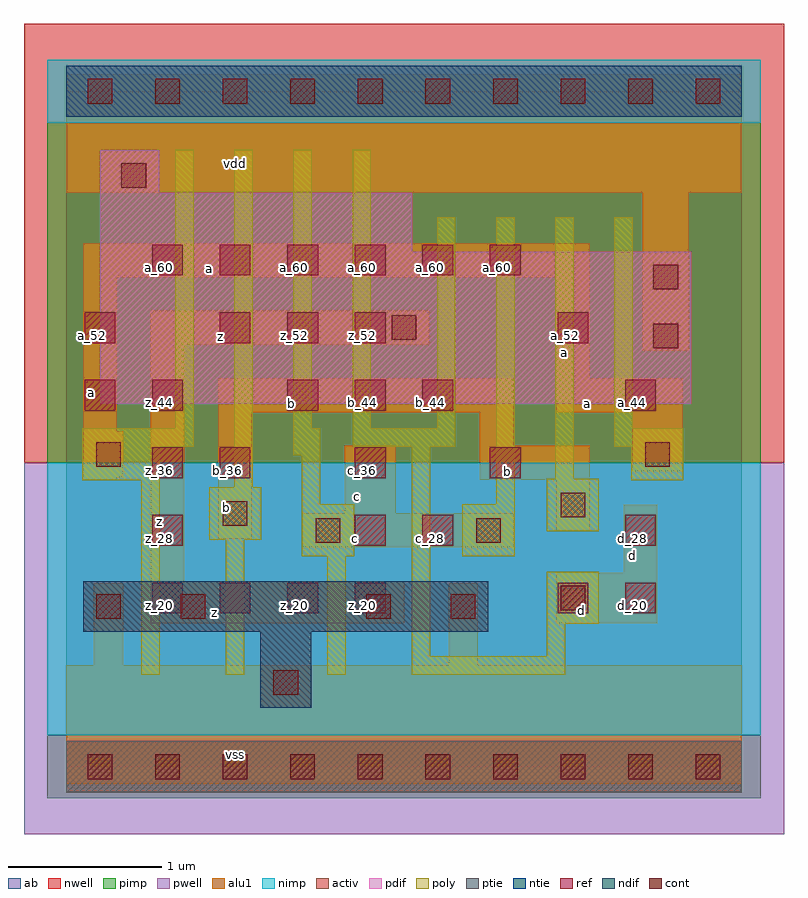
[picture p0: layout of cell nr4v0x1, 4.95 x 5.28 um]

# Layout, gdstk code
import gdstk
lib = gdstk.Library(unit=1e-6, precision=2.5e-09)
def R(c, l, rs):  # rectangles x0, y0, x1, y1
    for r in rs: c.add(gdstk.rectangle(r[:2], r[2:], *l))
def A(c, l, x, y, w, h, nx, ny, dx, dy):  # array of equal rectangles
    R(c, l, [(x+i*dx, y+j*dy, x+i*dx+w, y+j*dy+h) for i in range(nx) for j in range(ny)])
ndif = (3, 0)
pdif = (4, 0)
ntie = (5, 0)
ptie = (6, 0)
ref = (24, 0)
cont = (25, 0)
pwell = (41, 0)
nwell = (42, 0)
activ = (43, 0)
pimp = (44, 0)
nimp = (45, 0)
poly = (46, 0)
alu1 = (49, 0)
ab = (63, 0)

nr4v0x1 = lib.new_cell('nr4v0x1')
R(nr4v0x1, ndif, [(1.265,0.385,1.595,0.88), (0.11,0.88,2.75,1.21)])
R(nr4v0x1, pdif, [(0.22,2.365,4.07,3.355), (0.22,3.355,2.255,3.74), (0.22,3.74,0.605,4.015)])
R(nr4v0x1, ntie, [(0,4.235,4.4,4.565)])
R(nr4v0x1, ptie, [(0,-0.165,4.4,0.165)])
A(nr4v0x1, ref, 0.56, 1, 0.2, 0.2, 4, 1, 0.44, 0)
A(nr4v0x1, ref, 0.56, 1.44, 0.2, 0.2, 1, 3, 0, 0.44)
A(nr4v0x1, ref, 1, 1.88, 0.2, 0.2, 3, 1, 0.88, 0)
A(nr4v0x1, ref, 1.44, 2.32, 0.2, 0.2, 3, 1, 0.44, 0)
A(nr4v0x1, ref, 1, 2.76, 0.2, 0.2, 3, 1, 0.44, 0)
A(nr4v0x1, ref, 0.56, 3.2, 0.2, 0.2, 6, 1, 0.44, 0)
R(nr4v0x1, ref, [(3.2,1,3.4,1.2), (3.64,1,3.84,1.2), (1.88,1.44,2.08,1.64), (2.32,1.44,2.52,1.64), (3.64,1.44,3.84,1.64), (0.12,2.32,0.32,2.52), (3.64,2.32,3.84,2.52), (0.12,2.76,0.32,2.96), (3.2,2.76,3.4,2.96)])
A(nr4v0x1, cont, 0.14, -0.08, 0.16, 0.16, 10, 2, 0.44, 4.4)
R(nr4v0x1, cont, [(1.35,0.47,1.51,0.63), (0.195,0.965,0.355,1.125), (0.745,0.965,0.905,1.125), (1.955,0.965,2.115,1.125), (2.505,0.965,2.665,1.125), (3.22,1.02,3.38,1.18), (1.625,1.46,1.785,1.62), (2.67,1.46,2.83,1.62), (1.02,1.57,1.18,1.73), (3.22,1.625,3.38,1.785), (0.195,1.955,0.355,2.115), (3.77,1.955,3.93,2.115), (3.825,2.725,3.985,2.885), (2.12,2.78,2.28,2.94), (3.825,3.11,3.985,3.27), (0.36,3.77,0.52,3.93)])
R(nr4v0x1, pwell, [(-0.275,-0.44,4.675,1.98)])
R(nr4v0x1, nwell, [(-0.275,1.98,4.675,4.84)])
R(nr4v0x1, activ, [(0,-0.165,4.4,0.165), (1.265,0.385,1.595,0.88), (0.11,0.88,2.75,1.21), (0.22,2.365,4.07,3.355), (0.22,3.355,2.255,3.74), (0.22,3.74,0.605,4.015), (0,4.235,4.4,4.565)])
R(nr4v0x1, pimp, [(-0.125,-0.205,4.525,0.205), (-0.125,1.98,4.525,4.195)])
R(nr4v0x1, nimp, [(-0.125,0.205,4.525,1.98), (-0.125,4.195,4.525,4.605)])
R(nr4v0x1, poly, [(0.49,0.6,0.61,1.865), (1.04,0.6,1.16,1.48), (1.7,0.6,1.82,1.37), (2.25,0.6,3.25,0.72), (2.25,0.72,2.37,2.085), (3.13,0.72,3.25,0.93), (3.13,0.93,3.47,1.27), (1.535,1.37,1.875,1.71), (2.58,1.37,2.92,1.71), (0.93,1.48,1.27,1.82), (3.13,1.535,3.47,1.875), (1.535,1.71,1.655,2.03), (2.8,1.71,2.92,3.58), (1.095,1.82,1.215,4.02), (0.105,1.865,0.61,2.085), (3.68,1.865,4.02,2.085), (3.185,1.875,3.305,3.58), (1.48,2.03,1.655,2.205), (0.105,2.085,0.83,2.205), (1.865,2.085,2.535,2.205), (3.57,2.085,4.02,2.205), (0.71,2.205,0.83,4.02), (1.48,2.205,1.6,4.02), (1.865,2.205,1.985,4.02), (2.415,2.205,2.535,3.58), (3.57,2.205,3.69,3.58)])
R(nr4v0x1, alu1, [(0,-0.11,4.4,0.66), (0.18,0.66,0.37,1.195), (2.49,0.66,2.68,1.195), (0.55,0.935,2.2,1.21), (3.19,0.935,3.85,1.265), (0.55,1.21,0.77,2.75), (3.63,1.265,3.85,1.705), (1.54,1.43,2.915,1.65), (0.99,1.485,1.21,2.31), (3.19,1.54,3.41,1.87), (1.815,1.65,2.145,2.09), (0.11,1.87,0.33,1.885), (2.695,1.87,3.41,2.09), (0.11,1.885,0.37,2.185), (3.685,1.925,4.015,2.31), (2.695,2.09,2.915,2.31), (0.11,2.185,0.33,3.19), (0.99,2.31,2.915,2.53), (3.19,2.31,4.015,2.53), (3.19,2.53,3.41,3.19), (3.755,2.71,4.055,3.74), (0.55,2.75,2.365,2.97), (0.11,3.19,3.41,3.41), (0,3.74,4.4,4.51)])
R(nr4v0x1, ab, [(0,0,4.4,4.4)])
nr4v0x1.add(gdstk.Label('vss', (1.1,0.0825), layer=49, texttype=0))
nr4v0x1.add(gdstk.Label('d', (3.355,1.0175), layer=49, texttype=0))
nr4v0x1.add(gdstk.Label('z', (0.9625,1.0025), layer=49, texttype=0))
nr4v0x1.add(gdstk.Label('d', (3.685,1.375), layer=49, texttype=0))
nr4v0x1.add(gdstk.Label('c', (1.8825,1.485), layer=49, texttype=0))
nr4v0x1.add(gdstk.Label('b', (2.8725,1.925), layer=49, texttype=0))
nr4v0x1.add(gdstk.Label('c', (1.8975,1.76), layer=49, texttype=0))
nr4v0x1.add(gdstk.Label('b', (1.045,1.69), layer=49, texttype=0))
nr4v0x1.add(gdstk.Label('a', (3.395,2.365), layer=49, texttype=0))
nr4v0x1.add(gdstk.Label('b', (1.47,2.365), layer=49, texttype=0))
nr4v0x1.add(gdstk.Label('a', (3.245,2.695), layer=49, texttype=0))
nr4v0x1.add(gdstk.Label('z', (0.605,1.595), layer=49, texttype=0))
nr4v0x1.add(gdstk.Label('z', (1.0025,2.805), layer=49, texttype=0))
nr4v0x1.add(gdstk.Label('a', (0.165,2.435), layer=49, texttype=0))
nr4v0x1.add(gdstk.Label('a', (0.935,3.245), layer=49, texttype=0))
nr4v0x1.add(gdstk.Label('vdd', (1.1,3.9325), layer=49, texttype=0))
nr4v0x1.add(gdstk.Label('a_44', (3.69,2.37), layer=24, texttype=0))
nr4v0x1.add(gdstk.Label('d_28', (3.69,1.49), layer=24, texttype=0))
nr4v0x1.add(gdstk.Label('d_20', (3.69,1.05), layer=24, texttype=0))
nr4v0x1.add(gdstk.Label('a_52', (3.25,2.81), layer=24, texttype=0))
nr4v0x1.add(gdstk.Label('d_20', (3.25,1.05), layer=24, texttype=0))
nr4v0x1.add(gdstk.Label('a_60', (2.81,3.25), layer=24, texttype=0))
nr4v0x1.add(gdstk.Label('b_36', (2.81,1.93), layer=24, texttype=0))
nr4v0x1.add(gdstk.Label('a_60', (2.37,3.25), layer=24, texttype=0))
nr4v0x1.add(gdstk.Label('b_44', (2.37,2.37), layer=24, texttype=0))
nr4v0x1.add(gdstk.Label('c_28', (2.37,1.49), layer=24, texttype=0))
nr4v0x1.add(gdstk.Label('a_52', (0.17,2.81), layer=24, texttype=0))
nr4v0x1.add(gdstk.Label('a_44', (0.17,2.37), layer=24, texttype=0))
nr4v0x1.add(gdstk.Label('a_60', (1.93,3.25), layer=24, texttype=0))
nr4v0x1.add(gdstk.Label('z_52', (1.93,2.81), layer=24, texttype=0))
nr4v0x1.add(gdstk.Label('b_44', (1.93,2.37), layer=24, texttype=0))
nr4v0x1.add(gdstk.Label('c_36', (1.93,1.93), layer=24, texttype=0))
nr4v0x1.add(gdstk.Label('c_28', (1.93,1.49), layer=24, texttype=0))
nr4v0x1.add(gdstk.Label('z_20', (1.93,1.05), layer=24, texttype=0))
nr4v0x1.add(gdstk.Label('a_60', (1.49,3.25), layer=24, texttype=0))
nr4v0x1.add(gdstk.Label('z_52', (1.49,2.81), layer=24, texttype=0))
nr4v0x1.add(gdstk.Label('b_44', (1.49,2.37), layer=24, texttype=0))
nr4v0x1.add(gdstk.Label('z_20', (1.49,1.05), layer=24, texttype=0))
nr4v0x1.add(gdstk.Label('a_60', (1.05,3.25), layer=24, texttype=0))
nr4v0x1.add(gdstk.Label('z_52', (1.05,2.81), layer=24, texttype=0))
nr4v0x1.add(gdstk.Label('b_36', (1.05,1.93), layer=24, texttype=0))
nr4v0x1.add(gdstk.Label('z_20', (1.05,1.05), layer=24, texttype=0))
nr4v0x1.add(gdstk.Label('a_60', (0.61,3.25), layer=24, texttype=0))
nr4v0x1.add(gdstk.Label('z_44', (0.61,2.37), layer=24, texttype=0))
nr4v0x1.add(gdstk.Label('z_36', (0.61,1.93), layer=24, texttype=0))
nr4v0x1.add(gdstk.Label('z_28', (0.61,1.49), layer=24, texttype=0))
nr4v0x1.add(gdstk.Label('z_20', (0.61,1.05), layer=24, texttype=0))

lib.write_gds('nr4v0x1.gds')
